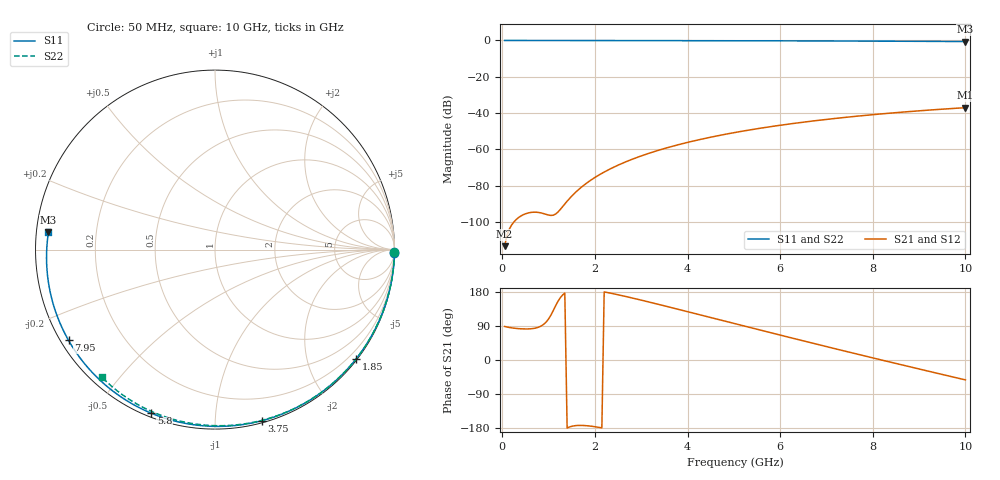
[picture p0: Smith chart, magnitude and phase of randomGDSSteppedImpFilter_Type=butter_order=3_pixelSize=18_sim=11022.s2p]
! freq	dB(S11)	phase(S11)	dB(S12)	phase(S12)
!  dB(S21)	phase(S21)	dB(S22)	phase(S22)
!S-par simulation data
#  GHz  S  DB  R 50
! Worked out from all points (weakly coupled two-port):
!   200 points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, 50 MHz to 10 GHz, reference 50 ohm
!   highest |S21| = -37.05 dB at 10 GHz (marker M1); lowest = -113.4 dB at 50 MHz (marker M2)
!   lowest |S11| = -0.6 dB at 10 GHz (marker M3), VSWR 28.88, Z = 1.74 + j2.57 ohm
!   |S11| at or under -10 dB: nowhere
!   |S22| runs from -0.4 to 0.0 dB; largest |S21 - S12| = 0
!   S11 on the Smith chart (normalised r, x): 50 MHz: open; 1.85 GHz: 0.03, -2.91; 3.75 GHz: 0.02, -1.31; 5.8 GHz: 0.02, -0.68; 7.95 GHz: 0.02, -0.28; 10 GHz: 0.03, +0.05
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0.05  -0.00 -1.0  -113.37 88.5  -113.37 88.5  -0.00 -0.8
0.45  -0.01 -9.4  -96.08 82.0  -96.08 82.0  -0.01 -6.8
0.85  -0.02 -17.7  -95.13 90.5  -95.13 90.5  -0.02 -12.9
1.3  -0.03 -26.9  -91.67 171.2  -91.67 171.2  -0.02 -19.6
1.75  -0.05 -35.9  -80.00 -172.8  -80.00 -172.8  -0.03 -26.2
1.85  -0.05 -37.9  -78.08 -173.7  -78.08 -173.7  -0.04 -27.7
2.15  -0.06 -43.9  -73.23 -179.1  -73.23 -179.1  -0.04 -32.1
2.5  -0.07 -50.8  -68.73 172.2  -68.73 172.2  -0.05 -37.2
2.9  -0.08 -58.5  -64.56 160.9  -64.56 160.9  -0.06 -42.9
3.4  -0.09 -68.1  -60.32 146.0  -60.32 146.0  -0.07 -50.0
3.75  -0.10 -74.6  -57.80 135.3  -57.80 135.3  -0.07 -54.8
4.4  -0.12 -86.5  -53.85 115.2  -53.85 115.2  -0.09 -63.7
5.05  -0.15 -98.1  -50.60 95.0  -50.60 95.0  -0.11 -72.3
5.8  -0.19 -111.2  -47.48 71.9  -47.48 71.9  -0.14 -82.0
6.7  -0.25 -126.7  -44.40 44.4  -44.40 44.4  -0.18 -93.2
7.35  -0.30 -137.8  -42.53 24.9  -42.53 24.9  -0.22 -101.0
7.95  -0.36 -148.2  -41.02 7.0  -41.02 7.0  -0.26 -108.1
8.35  -0.40 -155.2  -40.10 -4.8  -40.10 -4.8  -0.29 -112.8
8.8  -0.45 -163.3  -39.16 -17.9  -39.16 -17.9  -0.33 -118.0
9.2  -0.50 -170.6  -38.40 -29.5  -38.40 -29.5  -0.36 -122.5
9.6  -0.55 -178.1  -37.69 -41.0  -37.69 -41.0  -0.40 -127.1
10  -0.60 174.1  -37.05 -52.5  -37.05 -52.5  -0.45 -131.6
